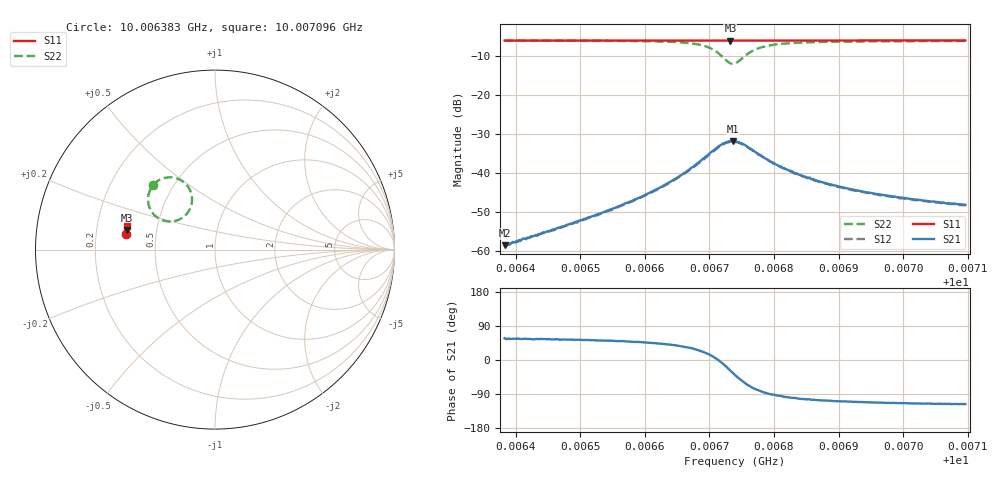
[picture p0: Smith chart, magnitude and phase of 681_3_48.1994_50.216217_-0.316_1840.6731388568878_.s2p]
#  HZ  S  RI  R  50.00
! Rohde & Schwarz Vector Network Analyzer
! Rohde-Schwarz,ZNB20-2Port,1311601062101988,3.16
! Created: UTC 3/20/2024, 12:06:39 PM
! freq[Hz]  re:S11  im:S11  re:S21  im:S21  re:S12  im:S12  re:S22  im:S22
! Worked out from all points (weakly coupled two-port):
!   401 points, 10.006383 GHz to 10.007096 GHz, reference 50 ohm
!   highest |S21| = -31.77 dB at 10.006736 GHz (marker M1); lowest = -58.6 dB at 10.006383 GHz (marker M2)
!   lowest |S11| = -6.0 dB at 10.006733 GHz (marker M3), VSWR 3.02, Z = 16.7 + j4.78 ohm
!   |S11| at or under -10 dB: nowhere
!   |S22| runs from -11.9 to -6.0 dB; largest |S21 - S12| = 0.0018
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1.0006383e10  -0.4969 0.0848  0.000632 0.000988  0.000606 0.000984  -0.3447 0.3626
1.00065025e10  -0.4956 0.0928  0.0015 0.00196  0.00138 0.00203  -0.329 0.3758
1.00065613e10  -0.4949 0.0969  0.00243 0.00288  0.00228 0.00296  -0.3155 0.3848
1.00065934e10  -0.4945 0.0988  0.00331 0.00357  0.00308 0.0037  -0.304 0.3907
1.0006622e10  -0.4941 0.1008  0.00464 0.00437  0.00434 0.00453  -0.2886 0.3969
1.00066594e10  -0.4934 0.1034  0.00798 0.00563  0.0075 0.00589  -0.253 0.4026
1.00066933e10  -0.4923 0.1058  0.0151 0.00531  0.0144 0.00574  -0.1868 0.3846
1.00067058e10  -0.4916 0.1064  0.0191 0.00294  0.0184 0.00392  -0.1533 0.3545
1.00067183e10  -0.491 0.1065  0.023 -0.00242  0.0224 -0.00112  -0.1291 0.2967
1.00067254e10  -0.4906 0.1067  0.0237 -0.0069  0.0235 -0.0056  -0.1307 0.2525
1.00067326e10  -0.4906 0.1068  0.0227 -0.0121  0.0229 -0.0104  -0.1503 0.2083
1.00067361e10  -0.4907 0.1067  0.0214 -0.0144  0.0218 -0.0127  -0.167 0.1897
1.00067397e10  -0.4907 0.1066  0.0197 -0.0163  0.0204 -0.0147  -0.1863 0.1747
1.00067486e10  -0.4911 0.1068  0.0148 -0.0193  0.0155 -0.018  -0.2405 0.157
1.00067611e10  -0.4916 0.1076  0.00792 -0.0195  0.00898 -0.0187  -0.3036 0.1685
1.00067825e10  -0.492 0.109  0.00167 -0.0161  0.00257 -0.0158  -0.3561 0.2164
1.00068164e10  -0.492 0.1114  -0.00147 -0.0114  -0.000749 -0.0113  -0.3731 0.2709
1.00068592e10  -0.4917 0.1145  -0.00218 -0.00804  -0.00167 -0.00801  -0.3706 0.3056
1.00069127e10  -0.491 0.1182  -0.0021 -0.00599  -0.0018 -0.00597  -0.3636 0.3275
1.00069787e10  -0.4902 0.1224  -0.00201 -0.00468  -0.00176 -0.00465  -0.356 0.3427
1.00070357e10  -0.4894 0.1261  -0.00181 -0.00395  -0.00165 -0.00401  -0.3504 0.3515
1.00070964e10  -0.4884 0.1301  -0.00173 -0.00348  -0.00154 -0.00351  -0.3455 0.3584
